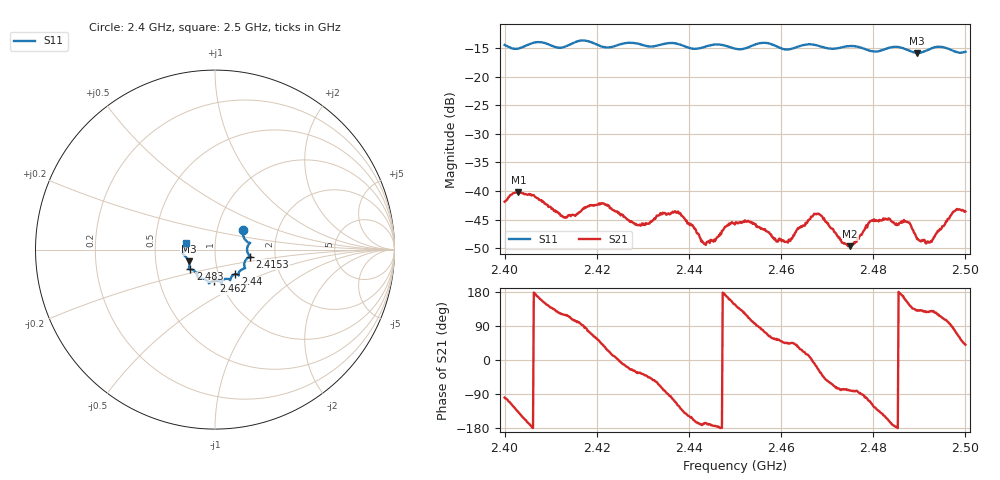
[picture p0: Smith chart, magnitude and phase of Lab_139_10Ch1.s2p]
# Hz S RI R 50
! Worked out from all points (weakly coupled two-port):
!   601 points, 2.4 GHz to 2.5 GHz, reference 50 ohm
!   highest |S21| = -40.19 dB at 2.403 GHz (marker M1); lowest = -49.6 dB at 2.475 GHz (marker M2)
!   lowest |S11| = -15.9 dB at 2.4895 GHz (marker M3), VSWR 1.38, Z = 36.9 - j5.01 ohm
!   |S11| at or under -10 dB: start of sweep to end of sweep
!   S12 and S22 are empty: the file has one direction only
!   S11 on the Smith chart (normalised r, x): 2.4 GHz: 1.33, +0.29; 2.4153 GHz: 1.48, -0.12; 2.44 GHz: 1.21, -0.34; 2.462 GHz: 0.93, -0.33; 2.483 GHz: 0.74, -0.17; 2.5 GHz: 0.72, +0.06
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2.4e9  0.1557 0.1066  -0.00131 -0.00797  0 0  0 0
2.403e9  0.165 0.0595  -0.00719 -0.00663  0 0  0 0
2.415333e9  0.1959 -0.0385  -0.00141 0.0059  0 0  0 0
2.416667e9  0.2016 -0.0425  -0.000442 0.00672  0 0  0 0
2.421667e9  0.1698 -0.0602  0.0063 0.00449  0 0  0 0
2.429167e9  0.1605 -0.1062  0.00419 -0.00283  0 0  0 0
2.433333e9  0.1311 -0.1334  0.0027 -0.00549  0 0  0 0
2.4375e9  0.131 -0.1418  -0.00314 -0.00577  0 0  0 0
2.44e9  0.1141 -0.1367  -0.00443 -0.00278  0 0  0 0
2.4435e9  0.0874 -0.1596  -0.00336 -0.000796  0 0  0 0
2.45e9  0.0646 -0.1629  -0.00426 0.00283  0 0  0 0
2.462e9  -0.00515 -0.1733  0.00262 0.00257  0 0  0 0
2.466667e9  -0.0343 -0.1876  0.00599 2.66e-05  0 0  0 0
2.475e9  -0.092 -0.16  0.000554 -0.00326  0 0  0 0
2.479333e9  -0.105 -0.1304  -0.00189 -0.00513  0 0  0 0
2.483e9  -0.1374 -0.1098  -0.00515 -0.00243  0 0  0 0
2.483333e9  -0.14 -0.1095  -0.00543 -0.002  0 0  0 0
2.4875e9  -0.1428 -0.0923  -0.00472 0.00259  0 0  0 0
2.4895e9  -0.1464 -0.0661  -0.00247 0.00291  0 0  0 0
2.4925e9  -0.1726 -0.0309  -0.00229 0.00285  0 0  0 0
2.497667e9  -0.1657 0.00123  0.00137 0.00651  0 0  0 0
2.5e9  -0.1598 0.0391  0.00506 0.0043  0 0  0 0
